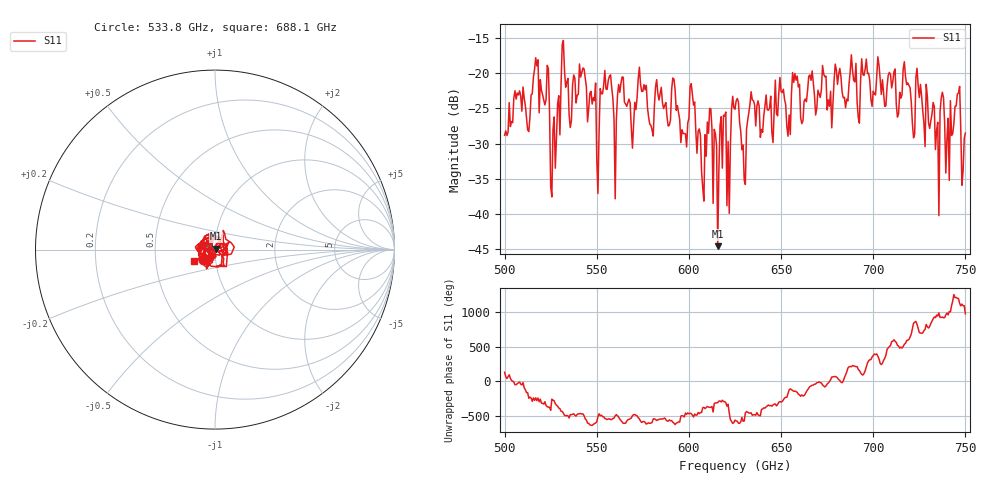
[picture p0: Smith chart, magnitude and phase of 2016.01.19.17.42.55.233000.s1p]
!Created with skrf (http://scikit-rf.org).
# GHz S RI R 50.0
!freq ReS11 ImS11
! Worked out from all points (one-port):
!   401 points, 500 GHz to 750 GHz, reference 50 ohm
!   lowest |S11| = -44.6 dB at 615.6 GHz (marker M1), VSWR 1.01, Z = 50.4 + j0.434 ohm
!   |S11| at or under -10 dB: start of sweep to end of sweep
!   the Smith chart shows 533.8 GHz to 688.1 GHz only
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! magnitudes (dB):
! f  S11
! 500 GHz  -28.8
! 513.1 GHz  -28.3
! 516.9 GHz  -17.8
! 523.1 GHz  -18.9
! 526.2 GHz  -28.0
! 531.2 GHz  -15.9
! 541.9 GHz  -19.9
! 550 GHz  -32.2
! 553.1 GHz  -22.9
! 560 GHz  -37.9
! 562.5 GHz  -22.7
! 593.8 GHz  -24.6
! 597.5 GHz  -28.6
! 601.9 GHz  -23.0
! 606.9 GHz  -34.0
! 611.2 GHz  -25.0
! 615.6 GHz  -44.6
! 618.8 GHz  -26.0
! 621.9 GHz  -39.9
! 625 GHz  -25.1
! 629.4 GHz  -30.2
! 634.4 GHz  -23.8
! 656.2 GHz  -19.9
! 687.5 GHz  -19.8
! 718.8 GHz  -21.4
! 735 GHz  -27.0
! 745.6 GHz  -23.0
! 750 GHz  -28.5
